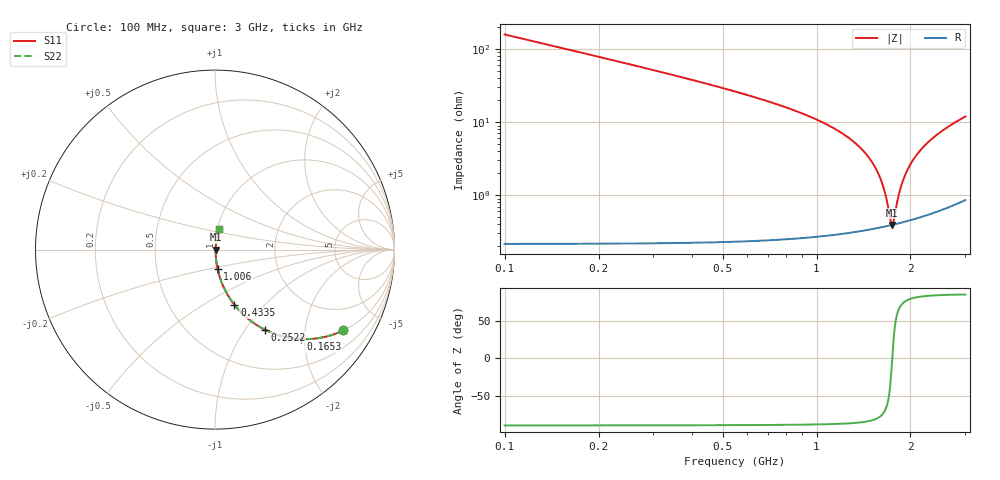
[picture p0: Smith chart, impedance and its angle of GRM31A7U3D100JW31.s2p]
!Murata Part Number: GRM31A7U3D100JW31
!These Parameters are Measured in Series Mode Connection
!Data Generated on Mar 30, 2021
!  o--ll--o
!Port1  Port2
!  o------o
!Operation Temp=25[degC], DC Bias Voltage=0[V]
!Freq. Start=100[MHz] Stop=3[GHz] 401[Steps]
# Hz S RI R 50
!Freq.(Hz) S11(Real) S11(Imag) S21(Real) S21(Imag) S12(Real) S12(Imag) S22(Real) S22(Imag)
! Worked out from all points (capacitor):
!   401 points, 100 MHz to 3 GHz, reference 50 ohm
!   read as one part in series: C = 10 pF near 114.5 MHz
!   lowest |Z| = 393 mohm at 1.746 GHz (marker M1)
!   series resonance near 1.748 GHz, so ESL is about 830 pH
!   S11 on the Smith chart (normalised r, x): 100 MHz: 1.00, -3.17; 165.2 MHz: 1.00, -1.91; 252.2 MHz: 1.00, -1.24; 433.5 MHz: 1.00, -0.69; 1.006 GHz: 1.01, -0.21; 3 GHz: 1.02, +0.24
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1e8  0.7154 -0.4505  0.2846 0.4505  0.2846 0.4505  0.7154 -0.4505
1.6525e8  0.477 -0.4983  0.523 0.4983  0.523 0.4983  0.477 -0.4983
2.5225e8  0.2773 -0.4459  0.7227 0.4459  0.7227 0.4459  0.2773 -0.4459
3.32e8  0.1776 -0.3798  0.8224 0.3798  0.8224 0.3798  0.1776 -0.3798
4.335e8  0.1082 -0.3074  0.8918 0.3074  0.8918 0.3074  0.1082 -0.3074
5.8575e8  0.0575 -0.228  0.9425 0.228  0.9425 0.228  0.0575 -0.228
1.00625e9  0.014 -0.1056  0.986 0.1056  0.986 0.1056  0.014 -0.1056
1.0715e9  0.0115 -0.093  0.9885 0.093  0.9885 0.093  0.0115 -0.093
1.3615e9  0.00539 -0.0469  0.9946 0.0469  0.9946 0.0469  0.00539 -0.0469
1.55e9  0.00402 -0.0226  0.996 0.0226  0.996 0.0226  0.00402 -0.0226
1.64425e9  0.00382 -0.0115  0.9962 0.0115  0.9962 0.0115  0.00382 -0.0115
1.6805e9  0.00382 -0.00744  0.9962 0.00744  0.9962 0.00744  0.00382 -0.00744
1.724e9  0.00387 -0.00262  0.9961 0.00262  0.9961 0.00262  0.00387 -0.00262
1.74575e9  0.00391 -0.000249  0.9961 0.000249  0.9961 0.000249  0.00391 -0.000249
1.7675e9  0.00396 0.0021  0.996 -0.0021  0.996 -0.0021  0.00396 0.0021
1.8255e9  0.00416 0.00824  0.9958 -0.00824  0.9958 -0.00824  0.00416 0.00824
1.87625e9  0.00439 0.0135  0.9956 -0.0135  0.9956 -0.0135  0.00439 0.0135
1.94875e9  0.00483 0.0208  0.9952 -0.0208  0.9952 -0.0208  0.00483 0.0208
2.03575e9  0.0055 0.0294  0.9945 -0.0294  0.9945 -0.0294  0.0055 0.0294
2.23875e9  0.00761 0.0486  0.9924 -0.0486  0.9924 -0.0486  0.00761 0.0486
2.5215e9  0.0118 0.074  0.9882 -0.074  0.9882 -0.074  0.0118 0.074
3e9  0.0222 0.1156  0.9778 -0.1156  0.9778 -0.1156  0.0222 0.1156
